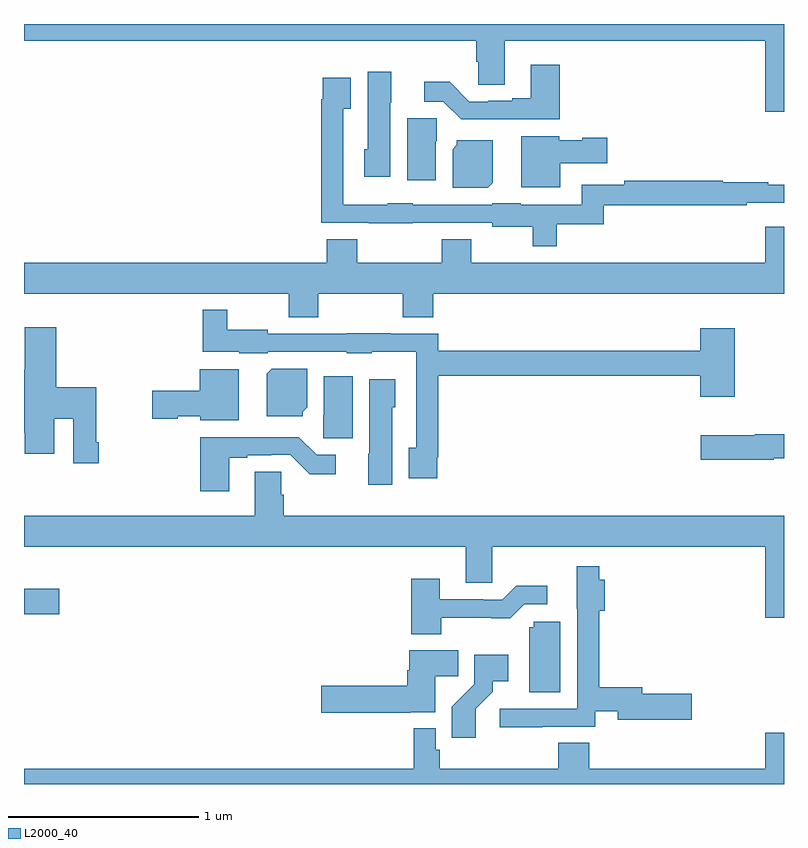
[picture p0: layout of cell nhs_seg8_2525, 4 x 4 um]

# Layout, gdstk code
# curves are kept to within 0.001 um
import gdstk
lib = gdstk.Library(unit=1e-6, precision=1e-09)
def R(c, l, rs):  # rectangles x0, y0, x1, y1
    for r in rs: c.add(gdstk.rectangle(r[:2], r[2:], *l))
def P(c, l, *ps):  # polygons
    for p in ps: c.add(gdstk.Polygon(p, *l))
L2000_40 = (2000, 40)

nhs_seg8_2525 = lib.new_cell('nhs_seg8_2525')
R(nhs_seg8_2525, L2000_40, [(269,1134.794,269.185,1134.928)])
P(nhs_seg8_2525, L2000_40, [(273,1137.9),(269,1137.9),(269,1137.812),(271.379,1137.812),(271.379,1137.702),(271.392,1137.702),(271.392,1137.58),(271.531,1137.58),(271.531,1137.812),(272.9,1137.812),(272.9,1137.438),(273,1137.438)],
  [(271.82,1137.685),(271.667,1137.685),(271.667,1137.508),(271.571,1137.508),(271.571,1137.495),(271.444,1137.495),(271.444,1137.492),(271.344,1137.492),(271.242,1137.595),(271.107,1137.595),(271.107,1137.492),(271.206,1137.492),(271.3,1137.398),(271.82,1137.398)],
  [(270.928,1137.486),(270.934,1137.486),(270.934,1137.649),(270.809,1137.649),(270.809,1137.24),(270.791,1137.24),(270.791,1137.096),(270.928,1137.096)],
  [(271.805,1136.846),(272.051,1136.846),(272.051,1136.946),(272.804,1136.946),(272.804,1136.958),(273,1136.958),(273,1137.054),(272.918,1137.054),(272.918,1137.067),(272.678,1137.067),(272.678,1137.074),(272.158,1137.074),(272.158,1137.054),(271.935,1137.054),(271.935,1136.95),(271.614,1136.95),(271.614,1136.956),(271.464,1136.956),(271.464,1136.949),(271.047,1136.949),(271.047,1136.956),(270.915,1136.956),(270.915,1136.95),(270.681,1136.95),(270.681,1137.455),(270.721,1137.455),(270.721,1137.616),(270.573,1137.616),(270.573,1137.503),(270.565,1137.503),(270.565,1136.853),(270.815,1136.853),(270.815,1136.852),(271.047,1136.852),(271.047,1136.853),(271.464,1136.853),(271.464,1136.834),(271.677,1136.834),(271.677,1136.729),(271.805,1136.729)],
  [(271.168,1137.282),(271.172,1137.282),(271.172,1137.405),(271.016,1137.405),(271.016,1137.078),(271.168,1137.078)],
  [(271.822,1137.167),(272.071,1137.167),(272.071,1137.302),(271.938,1137.302),(271.938,1137.289),(271.818,1137.289),(271.818,1137.31),(271.616,1137.31),(271.616,1137.041),(271.822,1137.041)],
  [(271.468,1137.064),(271.468,1137.289),(271.278,1137.289),(271.278,1137.264),(271.256,1137.242),(271.256,1137.038),(271.442,1137.038)],
  [(270.549,1136.48),(270.994,1136.48),(270.994,1136.356),(271.154,1136.356),(271.154,1136.48),(273,1136.48),(273,1136.833),(272.9,1136.833),(272.9,1136.644),(271.353,1136.644),(271.353,1136.768),(271.198,1136.768),(271.198,1136.644),(270.753,1136.644),(270.753,1136.768),(270.593,1136.768),(270.593,1136.644),(269,1136.644),(269,1136.48),(270.394,1136.48),(270.394,1136.356),(270.549,1136.356)],
  [(271.174,1135.621),(271.181,1135.621),(271.181,1136.05),(272.558,1136.05),(272.558,1135.938),(272.741,1135.938),(272.741,1136.299),(272.558,1136.299),(272.558,1136.179),(271.181,1136.179),(271.181,1136.271),(270.931,1136.271),(270.931,1136.273),(270.699,1136.273),(270.699,1136.271),(270.282,1136.271),(270.282,1136.29),(270.07,1136.29),(270.07,1136.395),(269.941,1136.395),(269.941,1136.174),(270.132,1136.174),(270.132,1136.168),(270.282,1136.168),(270.282,1136.175),(270.699,1136.175),(270.699,1136.168),(270.831,1136.168),(270.831,1136.174),(271.065,1136.174),(271.065,1135.67),(271.025,1135.67),(271.025,1135.509),(271.174,1135.509)],
  [(269.393,1135.699),(269.38,1135.699),(269.38,1135.988),(269.171,1135.988),(269.171,1136.305),(269.003,1136.305),(269.003,1136.081),(269,1136.081),(269,1135.75),(269.003,1135.75),(269.003,1135.638),(269.158,1135.638),(269.158,1135.823),(269.258,1135.823),(269.258,1135.587),(269.393,1135.587)],
  [(270.468,1135.86),(270.49,1135.882),(270.49,1136.086),(270.304,1136.086),(270.278,1136.06),(270.278,1135.835),(270.468,1135.835)],
  [(270.13,1136.084),(269.924,1136.084),(269.924,1135.97),(269.676,1135.97),(269.676,1135.823),(269.808,1135.823),(269.808,1135.835),(269.928,1135.835),(269.928,1135.814),(270.13,1135.814)],
  [(270.73,1136.047),(270.578,1136.047),(270.578,1135.842),(270.574,1135.842),(270.574,1135.719),(270.73,1135.719)],
  [(270.937,1135.884),(270.955,1135.884),(270.955,1136.029),(270.818,1136.029),(270.818,1135.638),(270.812,1135.638),(270.812,1135.476),(270.937,1135.476)],
  [(272.946,1135.614),(273,1135.614),(273,1135.742),(272.846,1135.742),(272.846,1135.735),(272.562,1135.735),(272.562,1135.606),(272.946,1135.606)],
  [(270.079,1135.617),(270.175,1135.617),(270.175,1135.629),(270.302,1135.629),(270.302,1135.632),(270.402,1135.632),(270.505,1135.53),(270.64,1135.53),(270.64,1135.632),(270.54,1135.632),(270.446,1135.726),(269.927,1135.726),(269.927,1135.44),(270.079,1135.44)],
  [(273,1135.312),(270.368,1135.312),(270.368,1135.422),(270.354,1135.422),(270.354,1135.544),(270.215,1135.544),(270.215,1135.312),(269,1135.312),(269,1135.148),(271.325,1135.148),(271.325,1134.958),(271.464,1134.958),(271.464,1135.148),(272.9,1135.148),(272.9,1134.774),(273,1134.774)],
  [(271.727,1134.201),(272.007,1134.201),(272.007,1134.282),(272.126,1134.282),(272.126,1134.239),(272.515,1134.239),(272.515,1134.374),(272.254,1134.374),(272.254,1134.41),(272.027,1134.41),(272.027,1134.811),(272.057,1134.811),(272.057,1134.976),(272.027,1134.976),(272.027,1135.045),(271.91,1135.045),(271.91,1134.822),(271.911,1134.822),(271.911,1134.297),(271.503,1134.297),(271.503,1134.199),(271.727,1134.199)],
  [(271.197,1134.774),(271.559,1134.773),(271.632,1134.846),(271.753,1134.846),(271.753,1134.943),(271.591,1134.943),(271.518,1134.87),(271.418,1134.87),(271.418,1134.873),(271.189,1134.873),(271.189,1134.979),(271.037,1134.979),(271.037,1134.689),(271.197,1134.689)],
  [(271.822,1134.753),(271.683,1134.753),(271.683,1134.726),(271.658,1134.726),(271.658,1134.382),(271.822,1134.382)],
  [(271.032,1134.278),(271.165,1134.278),(271.165,1134.466),(271.286,1134.466),(271.286,1134.604),(271.028,1134.604),(271.028,1134.5),(271.016,1134.5),(271.016,1134.416),(270.564,1134.416),(270.564,1134.274),(271.032,1134.274)],
  [(271.378,1134.295),(271.468,1134.385),(271.468,1134.44),(271.549,1134.44),(271.549,1134.58),(271.371,1134.58),(271.371,1134.425),(271.252,1134.306),(271.252,1134.144),(271.378,1134.144)],
  [(273,1134.169),(272.9,1134.169),(272.9,1133.98),(271.976,1133.98),(271.976,1134.116),(271.811,1134.116),(271.811,1133.98),(271.187,1133.98),(271.187,1134.081),(271.167,1134.081),(271.167,1134.193),(271.051,1134.193),(271.051,1133.98),(269,1133.98),(269,1133.9),(273,1133.9)])

lib.write_gds('nhs_seg8_2525.gds')
